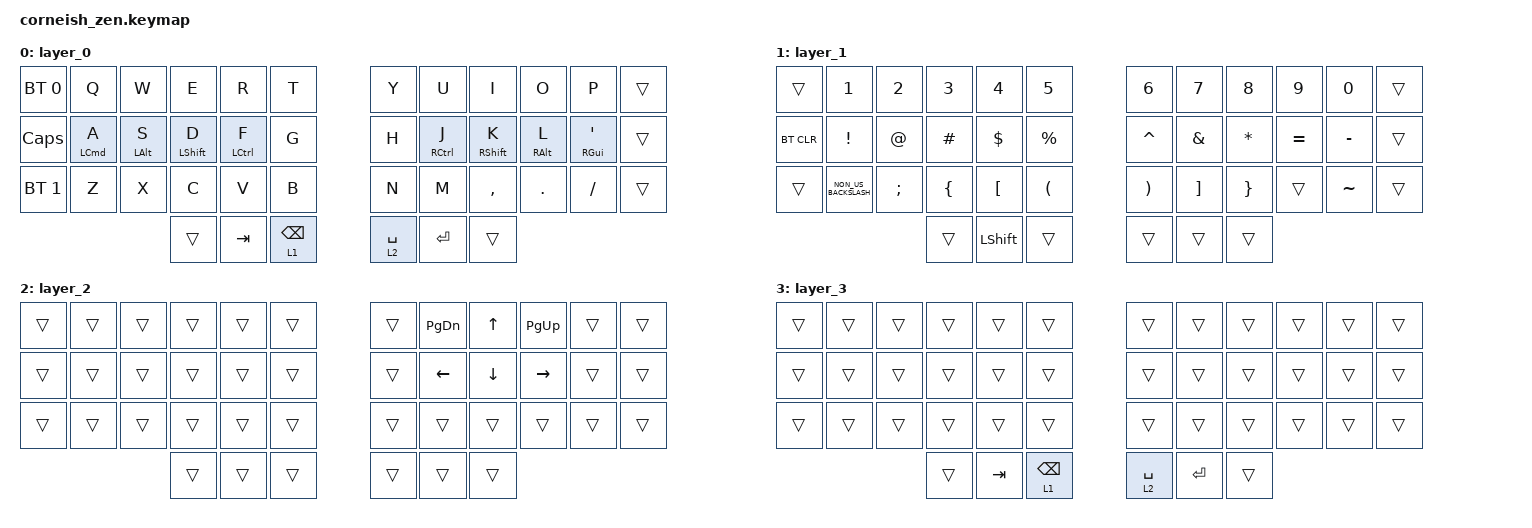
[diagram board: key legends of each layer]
#include <behaviors.dtsi>
#include <dt-bindings/zmk/bt.h>
#include <dt-bindings/zmk/keys.h>

/ {
    behaviors {
        hm: hm {
            compatible = "zmk,behavior-hold-tap";
            label = "HM";
            bindings = <&kp>, <&kp>;

            #binding-cells = <2>;
            tapping-term-ms = <250>;
            flavor = "tap-preferred";
            quick-tap-ms = <200>;
        };
    };

    keymap {
        compatible = "zmk,keymap";

        layer_0 {
            bindings = <
&bt BT_SEL 0  &kp Q       &kp W           &kp E        &kp R               &kp T              &kp Y        &kp U                &kp I              &kp O            &kp P              &trans
&kp CAPSLOCK  &hm LCMD A  &hm LEFT_ALT S  &hm LSHFT D  &mt LEFT_CONTROL F  &kp G              &kp H        &hm RIGHT_CONTROL J  &hm RIGHT_SHIFT K  &hm RIGHT_ALT L  &hm RIGHT_GUI SQT  &trans
&bt BT_SEL 1  &kp Z       &kp X           &kp C        &kp V               &kp B              &kp N        &kp M                &kp COMMA          &kp PERIOD       &kp SLASH          &trans
                                          &trans       &kp TAB             &lt 1 BACKSPACE    &lt 2 SPACE  &kp ENTER            &trans
            >;
        };

        layer_1 {
            bindings = <
&trans      &kp NUMBER_1          &kp NUMBER_2  &kp NUMBER_3  &kp NUMBER_4    &kp N5         &kp NUMBER_6  &kp N7         &kp N8        &kp N9     &kp N0     &trans
&bt BT_CLR  &kp EXCLAMATION       &kp AT_SIGN   &kp HASH      &kp DOLLAR      &kp PERCENT    &kp CARET     &kp AMPERSAND  &kp ASTERISK  &kp EQUAL  &kp MINUS  &trans
&trans      &kp NON_US_BACKSLASH  &kp SEMI      &kp LBRC      &kp LBKT        &kp LPAR       &kp RPAR      &kp RBKT       &kp RBRC      &trans     &kp TILDE  &trans
                                                &trans        &kp LEFT_SHIFT  &trans         &trans        &trans         &trans
            >;
        };

        layer_2 {
            bindings = <
&trans  &trans  &trans  &trans  &trans  &trans    &trans  &kp PAGE_DOWN  &kp UP    &kp PAGE_UP  &trans  &trans
&trans  &trans  &trans  &trans  &trans  &trans    &trans  &kp LEFT       &kp DOWN  &kp RIGHT    &trans  &trans
&trans  &trans  &trans  &trans  &trans  &trans    &trans  &trans         &trans    &trans       &trans  &trans
                        &trans  &trans  &trans    &trans  &trans         &trans
            >;
        };

        layer_3 {
            bindings = <
&trans  &trans  &trans  &trans  &trans   &trans             &trans       &trans     &trans  &trans  &trans  &trans
&trans  &trans  &trans  &trans  &trans   &trans             &trans       &trans     &trans  &trans  &trans  &trans
&trans  &trans  &trans  &trans  &trans   &trans             &trans       &trans     &trans  &trans  &trans  &trans
                        &trans  &kp TAB  &lt 1 BACKSPACE    &lt 2 SPACE  &kp ENTER  &trans
            >;
        };
    };
};
